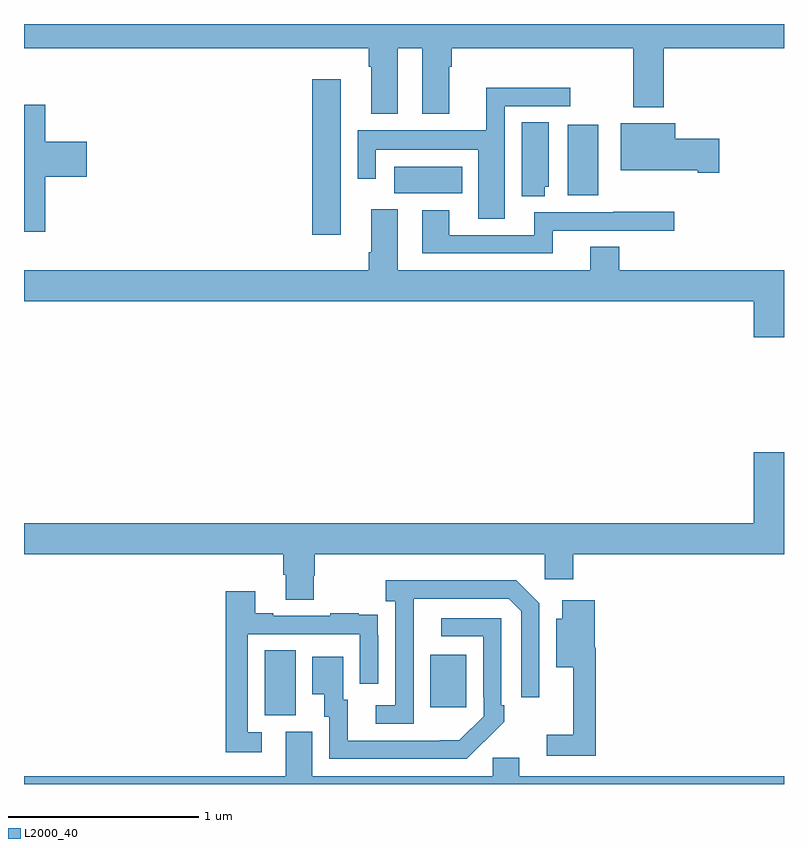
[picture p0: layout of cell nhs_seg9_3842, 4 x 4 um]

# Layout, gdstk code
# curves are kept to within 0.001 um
import gdstk
lib = gdstk.Library(unit=1e-6, precision=1e-09)
def R(c, l, rs):  # rectangles x0, y0, x1, y1
    for r in rs: c.add(gdstk.rectangle(r[:2], r[2:], *l))
def P(c, l, *ps):  # polygons
    for p in ps: c.add(gdstk.Polygon(p, *l))
L2000_40 = (2000, 40)

nhs_seg9_3842 = lib.new_cell('nhs_seg9_3842')
R(nhs_seg9_3842, L2000_40, [(330.266,1240.861,330.43,1241.204), (331.139,1240.905,331.327,1241.179), (330.518,1243.392,330.667,1244.209), (331.862,1243.598,332.023,1243.969), (330.948,1243.61,331.306,1243.75)])
P(nhs_seg9_3842, L2000_40, [(329,1244.372),(330.815,1244.372),(330.815,1244.276),(330.827,1244.276),(330.827,1244.027),(330.967,1244.027),(330.967,1244.372),(331.097,1244.372),(331.097,1244.027),(331.237,1244.027),(331.237,1244.276),(331.25,1244.276),(331.25,1244.372),(332.206,1244.372),(332.206,1244.063),(332.366,1244.063),(332.366,1244.372),(333,1244.372),(333,1244.5),(329,1244.5)],
  [(331.531,1244.067),(331.876,1244.067),(331.876,1244.165),(331.433,1244.165),(331.433,1243.942),(330.756,1243.942),(330.756,1243.686),(330.852,1243.686),(330.852,1243.838),(331.391,1243.838),(331.391,1243.474),(331.531,1243.474)],
  [(329.111,1243.697),(329.329,1243.697),(329.329,1243.88),(329.111,1243.88),(329.111,1244.074),(329,1244.074),(329,1243.406),(329.111,1243.406)],
  [(331.741,1243.644),(331.762,1243.644),(331.762,1243.982),(331.619,1243.982),(331.619,1243.594),(331.741,1243.594)],
  [(332.659,1243.896),(332.428,1243.896),(332.428,1243.978),(332.141,1243.978),(332.141,1243.73),(332.546,1243.73),(332.546,1243.718),(332.659,1243.718)],
  [(333,1243.204),(332.132,1243.204),(332.132,1243.328),(331.979,1243.328),(331.979,1243.204),(330.967,1243.204),(330.967,1243.525),(330.827,1243.525),(330.827,1243.3),(330.815,1243.3),(330.815,1243.204),(329,1243.204),(329,1243.04),(332.84,1243.04),(332.84,1242.852),(333,1242.852)],
  [(331.784,1243.413),(332.422,1243.413),(332.422,1243.512),(332.101,1243.512),(332.101,1243.509),(331.685,1243.509),(331.685,1243.389),(331.237,1243.389),(331.237,1243.519),(331.097,1243.519),(331.097,1243.293),(331.784,1243.293)],
  [(330.525,1241.595),(330.53,1241.595),(330.53,1241.708),(331.74,1241.708),(331.74,1241.577),(331.892,1241.577),(331.892,1241.708),(333,1241.708),(333,1242.247),(332.84,1242.247),(332.84,1241.872),(329,1241.872),(329,1241.708),(330.365,1241.708),(330.365,1241.602),(330.377,1241.602),(330.377,1241.47),(330.525,1241.47)],
  [(331.05,1241.275),(331.051,1241.475),(331.551,1241.475),(331.617,1241.409),(331.617,1240.956),(331.713,1240.956),(331.713,1241.451),(331.592,1241.572),(330.903,1241.572),(330.903,1241.462),(330.954,1241.462),(330.954,1240.914),(330.852,1240.914),(330.852,1240.818),(331.05,1240.818)],
  [(330.25,1240.773),(330.177,1240.773),(330.177,1241.289),(330.768,1241.289),(330.768,1241.028),(330.864,1241.028),(330.864,1241.282),(330.863,1241.282),(330.863,1241.391),(330.761,1241.391),(330.761,1241.398),(330.613,1241.398),(330.613,1241.385),(330.313,1241.385),(330.313,1241.398),(330.217,1241.398),(330.217,1241.515),(330.061,1241.515),(330.061,1240.668),(330.25,1240.668)],
  [(332.009,1241.218),(332.003,1241.218),(332.003,1241.467),(331.832,1241.467),(331.832,1241.371),(331.802,1241.371),(331.802,1241.114),(331.892,1241.114),(331.892,1240.759),(331.752,1240.759),(331.752,1240.65),(332.009,1240.65)],
  [(331.421,1240.723),(331.422,1240.722),(331.527,1240.827),(331.527,1240.915),(331.512,1240.915),(331.512,1241.373),(331.197,1241.373),(331.197,1241.277),(331.416,1241.277),(331.416,1240.957),(331.419,1240.957),(331.419,1240.857),(331.291,1240.729),(330.703,1240.728),(330.703,1240.944),(330.679,1240.944),(330.679,1241.17),(330.518,1241.17),(330.518,1240.973),(330.581,1240.973),(330.581,1240.854),(330.606,1240.854),(330.606,1240.632),(331.33,1240.632)],
  [(333,1240.54),(331.606,1240.54),(331.606,1240.638),(331.467,1240.638),(331.467,1240.54),(330.517,1240.54),(330.517,1240.776),(330.377,1240.776),(330.377,1240.54),(329,1240.54),(329,1240.5),(333,1240.5)])

lib.write_gds('nhs_seg9_3842.gds')
